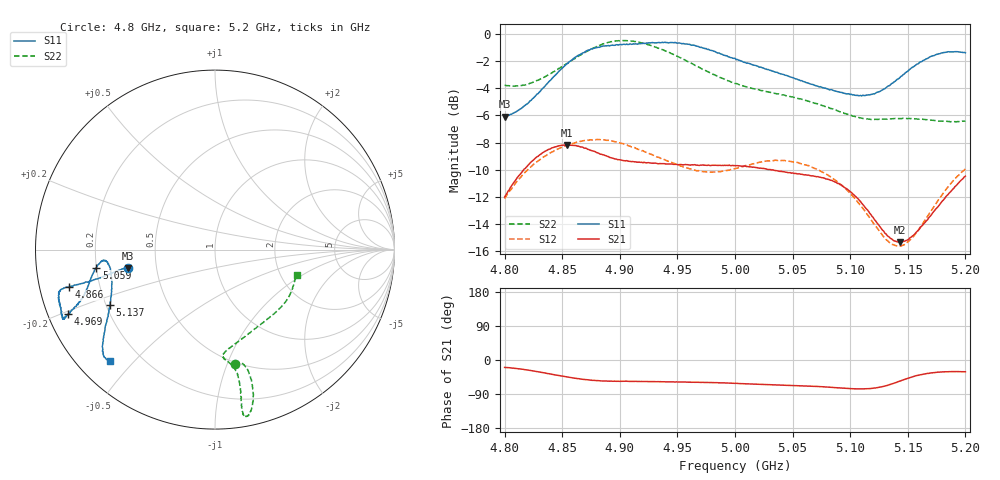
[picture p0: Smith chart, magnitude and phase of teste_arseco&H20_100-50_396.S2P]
! Network Analyzer HP8722D
! Hewlett-Packard
! Data name: Linha & Wilkinson
! Saver's name: Rodrigo Anjos
! Comments: Teste da utilização de aquisição
! continua pelo VNA HP8722D
! Time and date: 6/5/2025 15:52
!  Frequency  S11  S21  S12  S22
# HZ  S  MA R 50
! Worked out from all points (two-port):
!   401 points, 4.8 GHz to 5.2 GHz, reference 50 ohm
!   highest |S21| = -8.17 dB at 4.854 GHz (marker M1); lowest = -15.3 dB at 5.143 GHz (marker M2)
!   |S21| within 3 dB of the highest: 4.806 GHz to 5.093 GHz (287.1 MHz wide, 5.8 % of centre); 5.191869 GHz to end of sweep
!   lowest |S11| = -6.1 dB at 4.8 GHz (marker M3), VSWR 2.97, Z = 17 - j4.6 ohm
!   |S11| at or under -10 dB: nowhere
!   |S22| runs from -6.5 to -0.5 dB; largest |S21 - S12| = 0.62
!   S11 on the Smith chart (normalised r, x): 4.8 GHz: 0.34, -0.09; 4.866 GHz: 0.09, -0.13; 4.969 GHz: 0.06, -0.21; 5.059 GHz: 0.20, -0.07; 5.137 GHz: 0.22, -0.24; 5.2 GHz: 0.09, -0.43
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4.8e9  0.4964 -168.1  0.251 -19.6  0.2477 -140.7  0.6471 -80.3
4.826e9  0.5868 -167.2  0.3468 -29.4  0.3327 -144.3  0.6683 -75.6
4.854e9  0.7751 -165.8  0.3904 -44.7  0.3891 -149.6  0.7783 -74.6
4.866e9  0.8421 -165.5  0.3836 -50.1  0.4024 -151.7  0.8362 -75.2
4.867e9  0.847 -165.7  0.3836 -50.6  0.4032 -151.9  0.8427 -75.3
4.879e9  0.8892 -165.4  0.3681 -54.2  0.408 -153.9  0.8943 -76.5
4.899e9  0.9101 -162.7  0.3445 -56.3  0.3987 -156.6  0.9445 -79.0
4.915e9  0.9166 -159.3  0.3373 -56.6  0.3779 -157.1  0.9348 -80.3
4.934e9  0.9301 -156.2  0.3329 -57.4  0.3514 -155.5  0.8846 -80.4
4.969e9  0.8955 -156.2  0.3281 -58.8  0.313 -147.2  0.7532 -79.6
5e9  0.8138 -158.9  0.3275 -61.7  0.3198 -137.1  0.6571 -81.2
5.032e9  0.731 -164.4  0.3158 -65.5  0.342 -134.0  0.6078 -85.3
5.059e9  0.6685 -171.3  0.3037 -68.0  0.3319 -135.9  0.5726 -84.3
5.067e9  0.6521 -172.8  0.3004 -68.9  0.3229 -136.7  0.5599 -82.8
5.1e9  0.5982 -172.3  0.263 -75.5  0.259 -138.7  0.5031 -67.2
5.116e9  0.5968 -165.5  0.2221 -75.9  0.2136 -135.5  0.4857 -55.9
5.134e9  0.6443 -154.3  0.1788 -65.3  0.1709 -120.9  0.4866 -43.4
5.137e9  0.6593 -152.3  0.1746 -62.3  0.1679 -116.9  0.4873 -41.5
5.143e9  0.69 -149.3  0.1713 -55.9  0.1659 -109.1  0.4884 -38.0
5.154e9  0.7541 -144.3  0.1805 -44.7  0.1785 -95.1  0.4881 -32.3
5.174e9  0.8378 -138.2  0.2261 -32.7  0.236 -80.3  0.4797 -23.8
5.2e9  0.8519 -133.4  0.2996 -31.2  0.3191 -76.7  0.4771 -17.5
